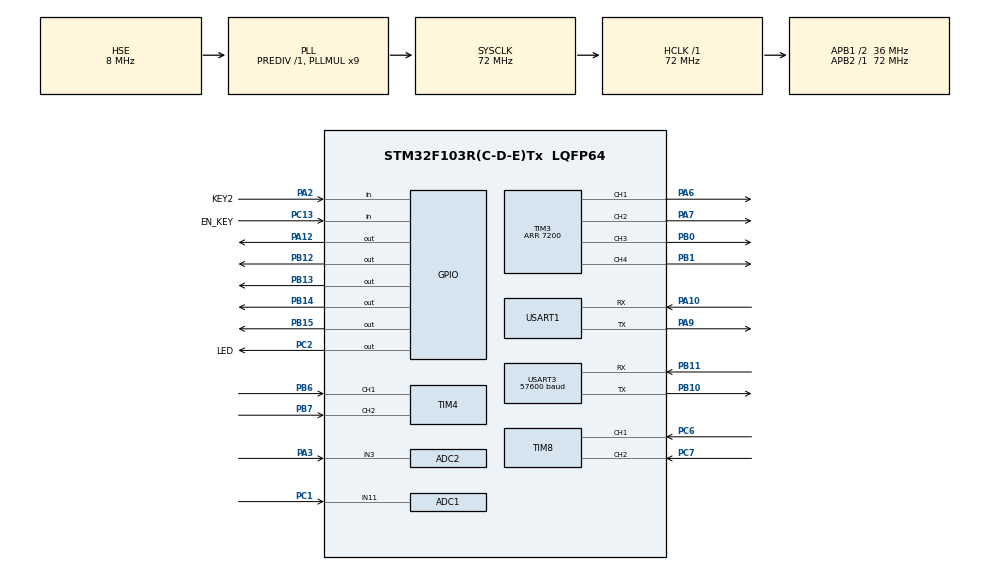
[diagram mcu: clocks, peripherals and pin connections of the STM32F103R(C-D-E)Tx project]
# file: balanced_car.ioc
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ADC1.Channel-0\#ChannelRegularConversion=ADC_CHANNEL_11
ADC1.ContinuousConvMode=ENABLE
ADC1.NbrOfConversionFlag=1
ADC1.Rank-0\#ChannelRegularConversion=1
ADC1.SamplingTime-0\#ChannelRegularConversion=ADC_SAMPLETIME_1CYCLE_5
ADC1.master=1
ADC2.Channel-0\#ChannelRegularConversion=ADC_CHANNEL_3
ADC2.NbrOfConversionFlag=1
ADC2.Rank-0\#ChannelRegularConversion=1
ADC2.SamplingTime-0\#ChannelRegularConversion=ADC_SAMPLETIME_1CYCLE_5
Dma.Request0=USART3_RX
Dma.Request1=USART3_TX
Dma.Request2=USART1_RX
Dma.Request3=USART1_TX
Dma.USART1_RX.2.Direction=DMA_PERIPH_TO_MEMORY
Dma.USART1_RX.2.Instance=DMA1_Channel5
Dma.USART1_RX.2.MemDataAlignment=DMA_MDATAALIGN_BYTE
Dma.USART1_RX.2.MemInc=DMA_MINC_ENABLE
Dma.USART1_RX.2.Mode=DMA_NORMAL
Dma.USART1_RX.2.PeriphDataAlignment=DMA_PDATAALIGN_BYTE
Dma.USART1_RX.2.PeriphInc=DMA_PINC_DISABLE
Dma.USART1_RX.2.Priority=DMA_PRIORITY_LOW
Dma.USART1_TX.3.Direction=DMA_MEMORY_TO_PERIPH
Dma.USART1_TX.3.Instance=DMA1_Channel4
Dma.USART1_TX.3.MemDataAlignment=DMA_MDATAALIGN_BYTE
Dma.USART1_TX.3.MemInc=DMA_MINC_ENABLE
Dma.USART1_TX.3.Mode=DMA_NORMAL
Dma.USART1_TX.3.PeriphDataAlignment=DMA_PDATAALIGN_BYTE
Dma.USART1_TX.3.PeriphInc=DMA_PINC_DISABLE
Dma.USART1_TX.3.Priority=DMA_PRIORITY_LOW
Dma.USART3_RX.0.Direction=DMA_PERIPH_TO_MEMORY
Dma.USART3_RX.0.Instance=DMA1_Channel3
Dma.USART3_RX.0.MemDataAlignment=DMA_MDATAALIGN_BYTE
Dma.USART3_RX.0.MemInc=DMA_MINC_ENABLE
Dma.USART3_RX.0.Mode=DMA_NORMAL
Dma.USART3_RX.0.PeriphDataAlignment=DMA_PDATAALIGN_BYTE
Dma.USART3_RX.0.PeriphInc=DMA_PINC_DISABLE
Dma.USART3_RX.0.Priority=DMA_PRIORITY_LOW
Dma.USART3_TX.1.Direction=DMA_MEMORY_TO_PERIPH
Dma.USART3_TX.1.Instance=DMA1_Channel2
Dma.USART3_TX.1.MemDataAlignment=DMA_MDATAALIGN_BYTE
Dma.USART3_TX.1.MemInc=DMA_MINC_ENABLE
Dma.USART3_TX.1.Mode=DMA_NORMAL
Dma.USART3_TX.1.PeriphDataAlignment=DMA_PDATAALIGN_BYTE
Dma.USART3_TX.1.PeriphInc=DMA_PINC_DISABLE
Dma.USART3_TX.1.Priority=DMA_PRIORITY_LOW
Mcu.Family=STM32F1
Mcu.Name=STM32F103R(C-D-E)Tx
Mcu.Package=LQFP64
NVIC.DMA1_Channel2_IRQn=true\:0\:0\:false\:false\:true\:false\:true\:true
NVIC.DMA1_Channel3_IRQn=true\:0\:0\:false\:false\:true\:false\:true\:true
NVIC.DMA1_Channel4_IRQn=true\:0\:0\:false\:false\:true\:false\:true\:true
NVIC.DMA1_Channel5_IRQn=true\:0\:0\:false\:false\:true\:false\:true\:true
NVIC.PriorityGroup=NVIC_PRIORITYGROUP_4
NVIC.TIM6_IRQn=true\:1\:0\:true\:false\:true\:true\:true\:true
NVIC.TIM7_IRQn=true\:2\:0\:true\:false\:true\:true\:true\:true
NVIC.USART1_IRQn=true\:5\:0\:true\:false\:true\:true\:true\:true
NVIC.USART3_IRQn=true\:0\:0\:false\:false\:true\:true\:true\:true
PA10.Mode=Asynchronous
PA10.Signal=USART1_RX
PA12.Signal=GPIO_Output
PA13.Mode=Serial_Wire
PA13.Signal=SYS_JTMS-SWDIO
PA14.Mode=Serial_Wire
PA14.Signal=SYS_JTCK-SWCLK
PA2.GPIO_Label=KEY2
PA2.GPIO_PuPd=GPIO_PULLUP
PA2.Signal=GPIO_Input
PA3.Signal=ADCx_IN3
PA6.Signal=S_TIM3_CH1
PA7.Signal=S_TIM3_CH2
PA9.Mode=Asynchronous
PA9.Signal=USART1_TX
PB0.Signal=S_TIM3_CH3
PB1.Signal=S_TIM3_CH4
PB10.Mode=Asynchronous
PB10.Signal=USART3_TX
PB11.Mode=Asynchronous
PB11.Signal=USART3_RX
PB12.Signal=GPIO_Output
PB13.Signal=GPIO_Output
PB14.Signal=GPIO_Output
PB15.Signal=GPIO_Output
PB6.Signal=S_TIM4_CH1
PB7.Signal=S_TIM4_CH2
PC1.Signal=ADCx_IN11
PC13-TAMPER-RTC.GPIO_Label=EN_KEY
PC13-TAMPER-RTC.GPIO_PuPd=GPIO_NOPULL
PC13-TAMPER-RTC.Signal=GPIO_Input
PC2.GPIO_Label=LED
PC2.PinState=GPIO_PIN_SET
PC2.Signal=GPIO_Output
PC6.Signal=S_TIM8_CH1
PC7.Signal=S_TIM8_CH2
PD0-OSC_IN.Mode=HSE-External-Oscillator
PD0-OSC_IN.Signal=RCC_OSC_IN
PD1-OSC_OUT.Mode=HSE-External-Oscillator
PD1-OSC_OUT.Signal=RCC_OSC_OUT
ProjectManager.HeapSize=0x200
ProjectManager.StackSize=0x400
ProjectManager.TargetToolchain=CMake
RCC.ADCPresc=RCC_ADCPCLK2_DIV6
RCC.AHBFreq_Value=72000000
RCC.APB1CLKDivider=RCC_HCLK_DIV2
RCC.APB1Freq_Value=36000000
RCC.APB1TimFreq_Value=72000000
RCC.APB2Freq_Value=72000000
RCC.APB2TimFreq_Value=72000000
RCC.HCLKFreq_Value=72000000
RCC.PLLMUL=RCC_PLL_MUL9
RCC.PLLSourceVirtual=RCC_PLLSOURCE_HSE
RCC.SYSCLKFreq_VALUE=72000000
RCC.SYSCLKSource=RCC_SYSCLKSOURCE_PLLCLK
RCC.USBFreq_Value=72000000
SH.ADCx_IN11.0=ADC1_IN11,IN11
SH.ADCx_IN11.1=ADC2_IN11
SH.ADCx_IN3.0=ADC2_IN3,IN3
SH.S_TIM3_CH1.0=TIM3_CH1,PWM Generation1 CH1
SH.S_TIM3_CH2.0=TIM3_CH2,PWM Generation2 CH2
SH.S_TIM3_CH3.0=TIM3_CH3,PWM Generation3 CH3
SH.S_TIM3_CH4.0=TIM3_CH4,PWM Generation4 CH4
SH.S_TIM4_CH1.0=TIM4_CH1,Encoder_Interface
SH.S_TIM4_CH2.0=TIM4_CH2,Encoder_Interface
SH.S_TIM8_CH1.0=TIM8_CH1,Encoder_Interface
SH.S_TIM8_CH2.0=TIM8_CH2,Encoder_Interface
TIM3.Channel-PWM\ Generation1\ CH1=TIM_CHANNEL_1
TIM3.Channel-PWM\ Generation2\ CH2=TIM_CHANNEL_2
TIM3.Channel-PWM\ Generation3\ CH3=TIM_CHANNEL_3
TIM3.Channel-PWM\ Generation4\ CH4=TIM_CHANNEL_4
TIM3.Period=7200
TIM4.AutoReloadPreload=TIM_AUTORELOAD_PRELOAD_ENABLE
TIM4.EncoderMode=TIM_ENCODERMODE_TI12
TIM4.IC1Filter=15
TIM4.IC2Filter=15
TIM6.Period=1000
TIM6.Prescaler=720-1
TIM7.Period=72
TIM8.EncoderMode=TIM_ENCODERMODE_TI12
TIM8.IC1Filter=15
TIM8.IC2Filter=15
USART1.VirtualMode=VM_ASYNC
USART3.BaudRate=57600
USART3.VirtualMode=VM_ASYNC
VP_TIM3_VS_ClockSourceINT.Mode=Internal
VP_TIM6_VS_ClockSourceINT.Mode=Enable_Timer
VP_TIM7_VS_ClockSourceINT.Mode=Enable_Timer
board=custom

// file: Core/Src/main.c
/* USER CODE BEGIN Header */
/**
  ******************************************************************************
  * @file           : main.c
  * @brief          : Main program body
  ******************************************************************************
  * @attention
  *
  * Copyright (c) 2025 STMicroelectronics.
  * All rights reserved.
  *
  * This software is licensed under terms that can be found in the LICENSE file
  * in the root directory of this software component.
  * If no LICENSE file comes with this software, it is provided AS-IS.
  *
  ******************************************************************************
  */
/* USER CODE END Header */
#include "main.h"
#include "adc.h"
#include "dma.h"
#include "tim.h"
#include "usart.h"
#include "gpio.h"

/* USER CODE BEGIN Includes */
#include <stdbool.h>

#include "pid.h"
#include "balance_control.h"
#include "mpu6050.h"
#include "callback.h"
#include "encoder.h"
#include "vbat.h"
#include "Grayscale_Sensor.h"
#include "../Inc/wireless.h"
#include "../Inc/motor_control.h"
#include "delay.h"
#include "State_Control.h"
#include "uart_command.h"
#include "uart_com_cycle.h"
/* USER CODE END Includes */

/* USER CODE BEGIN PV */

/********************灰度传感器配置********************/
No_MCU_Sensor sensor;
char Gray_rx_buff[256] = "";
unsigned short Anolog[8] = {0};
unsigned short white[8] = {1559, 1696, 2608, 2262, 2035, 2361, 2645, 1694};
unsigned short black[8] = {183, 235, 214, 187, 145, 219, 359, 117};
unsigned short Normal[8];
unsigned char Digtal;
/********************extern数组********************/
extern DMA_HandleTypeDef hdma_usart1_rx;
extern PID pid_l_speed, pid_l_position, pid_r_speed, pid_r_position; //PID结构体
extern uint8_t DAP_Com_Buff[128]; //串口接收数据缓存
/* USER CODE END PV */

void SystemClock_Config(void);

int main(void)
{

  /* MCU Configuration--------------------------------------------------------*/

  /* Reset of all peripherals, Initializes the Flash interface and the Systick. */
  HAL_Init();

  /* Configure the system clock */
  SystemClock_Config();

  /* Initialize all configured peripherals */
  MX_GPIO_Init();
  MX_DMA_Init();
  MX_TIM3_Init();
  MX_TIM4_Init();
  MX_TIM8_Init();
  MX_USART1_UART_Init();
  MX_TIM6_Init();
  MX_ADC1_Init();
  MX_USART3_UART_Init();
  MX_ADC2_Init();
  MX_TIM7_Init();
  /* USER CODE BEGIN 2 */
    DWT_InitMicros(); //初始化DWT计数器，程序正式计数
    Vbat_Init(); //初始化电池电压采集

    /************串口接收初始化************/
    HAL_UARTEx_ReceiveToIdle_DMA(&huart3, DAP_Com_Buff, 128);
    __HAL_DMA_DISABLE_IT(&hdma_usart3_rx, DMA_IT_HT);

    /**********************灰度传感器初始化**********************/

    sprintf((char *) Gray_rx_buff, "hello_world!\r\n");
    HAL_UART_Transmit(&huart1, Gray_rx_buff, strlen((char *) Gray_rx_buff),HAL_MAX_DELAY);

    //初始化传感器，不带黑白
    No_MCU_Ganv_Sensor_Init_Frist(&sensor); //结构体归零
    No_Mcu_Ganv_Sensor_Task_Without_tick(&sensor); //无校准读取数据
    Get_Anolog_Value(&sensor, Anolog);
    sprintf(Gray_rx_buff, "Anolog %d,%d,%d,%d,%d,%d,%d,%d\r\n", Anolog[0], Anolog[1], Anolog[2], Anolog[3], Anolog[4],
            Anolog[5], Anolog[6], Anolog[7]);
    HAL_UART_Transmit_DMA(&huart1, Gray_rx_buff, strlen(Gray_rx_buff));
    HAL_Delay(100);

    //得到黑白校准值之后，初始化传感器
    No_MCU_Ganv_Sensor_Init(&sensor, white, black);
    HAL_Delay(100);
    /*******************电机控制初始化*******************/
    //MPU6050_Init(); //初始化MPU6050
    Motor_Init(); //电机速度环初始化
    //Control_Init();//电机平衡初始化

    PID_Set_General(&pid_l_speed, 0.4f, 10.0f, 0.0f); //速度环设定值
    PID_Set_General(&pid_r_speed, 0.4f, 10.0f, 0.0f);
    HAL_Delay(500);

    HAL_TIM_Base_Start_IT(&GAP_TIM); //10ms定时器开启

  /* USER CODE END 2 */

  /* Infinite loop */
  /* USER CODE BEGIN WHILE */
    while (1)
    {
        // DAP_Com_Length = Command_GetCommand(DAP_Com);//DAP_Com_Length事实上是包含包头和校验和的字节数
        // if (DAP_Com_Length != 0) //如果有命令
        // {
        //     Decode_Command(DAP_Com_Length-3);
        //     HAL_UART_Transmit(&huart3, DAP_Com_Decode, strlen(DAP_Com_Decode), HAL_MAX_DELAY); //回显解码之后的命令
        //     USART_Parse_Command(DAP_Com_Decode, 1); //解析命令
        // }

        // //无时基传感器常规任务，包含模拟量，数字量，归一化量
        // No_Mcu_Ganv_Sensor_Task_Without_tick(&sensor);
        // //有时基传感器常规任务，包含模拟量，数字量，归一化量
        // //			No_Mcu_Ganv_Sensor_Task_With_tick(&sensor)
        // //获取传感器数字量结果(只有当有黑白值传入进去了之后才会有这个)
        // Digtal=Get_Digtal_For_User(&sensor);
        // sprintf(Gray_rx_buff,"Digtal %d-%d-%d-%d-%d-%d-%d-%d\r\n",(Digtal>>0)&0x01,(Digtal>>1)&0x01,(Digtal>>2)&0x01,(Digtal>>3)&0x01,(Digtal>>4)&0x01,(Digtal>>5)&0x01,(Digtal>>6)&0x01,(Digtal>>7)&0x01);
        // HAL_UART_Transmit(&huart1, Gray_rx_buff, strlen(Gray_rx_buff), HAL_MAX_DELAY);
        //
        // //获取传感器模拟量结果(有黑白初始化后返回1 没有返回 0)
        // // if(Get_Anolog_Value(&sensor,Anolog)){
        // //   sprintf(Gray_rx_buff,"Anolog %d-%d-%d-%d-%d-%d-%d-%d\r\n",Anolog[0],Anolog[1],Anolog[2],Anolog[3],Anolog[4],Anolog[5],Anolog[6],Anolog[7]);
        // //   HAL_UART_Transmit(&huart1, Gray_rx_buff, strlen(Gray_rx_buff), HAL_MAX_DELAY);
        // // }
        //
        // //获取传感器归一化结果(只有当有黑白值传入进去了之后才会有这个结果！！有黑白值初始化后返1 没有返回 0)
        // if(Get_Normalize_For_User(&sensor,Normal)){
        //   sprintf(Gray_rx_buff,"Normalize %d-%d-%d-%d-%d-%d-%d-%d\r\n",Normal[0],Normal[1],Normal[2],Normal[3],Normal[4],Normal[5],Normal[6],Normal[7]);
        //   HAL_UART_Transmit(&huart1, Gray_rx_buff, strlen(Gray_rx_buff), HAL_MAX_DELAY);
        // }
        //
        // HAL_Delay(1000);//最短延时时间
    /* USER CODE END WHILE */

    }
}

void SystemClock_Config(void)
{
  RCC_OscInitTypeDef RCC_OscInitStruct = {0};
  RCC_ClkInitTypeDef RCC_ClkInitStruct = {0};
  RCC_PeriphCLKInitTypeDef PeriphClkInit = {0};

  /** Initializes the RCC Oscillators according to the specified parameters
  * in the RCC_OscInitTypeDef structure.
  */
  RCC_OscInitStruct.OscillatorType = RCC_OSCILLATORTYPE_HSE;
  RCC_OscInitStruct.HSEState = RCC_HSE_ON;
  RCC_OscInitStruct.HSEPredivValue = RCC_HSE_PREDIV_DIV1;
  RCC_OscInitStruct.HSIState = RCC_HSI_ON;
  RCC_OscInitStruct.PLL.PLLState = RCC_PLL_ON;
  RCC_OscInitStruct.PLL.PLLSource = RCC_PLLSOURCE_HSE;
  RCC_OscInitStruct.PLL.PLLMUL = RCC_PLL_MUL9;
  if (HAL_RCC_OscConfig(&RCC_OscInitStruct) != HAL_OK)
  {
    Error_Handler();
  }

  /** Initializes the CPU, AHB and APB buses clocks
  */
  RCC_ClkInitStruct.ClockType = RCC_CLOCKTYPE_HCLK|RCC_CLOCKTYPE_SYSCLK
                              |RCC_CLOCKTYPE_PCLK1|RCC_CLOCKTYPE_PCLK2;
  RCC_ClkInitStruct.SYSCLKSource = RCC_SYSCLKSOURCE_PLLCLK;
  RCC_ClkInitStruct.AHBCLKDivider = RCC_SYSCLK_DIV1;
  RCC_ClkInitStruct.APB1CLKDivider = RCC_HCLK_DIV2;
  RCC_ClkInitStruct.APB2CLKDivider = RCC_HCLK_DIV1;

  if (HAL_RCC_ClockConfig(&RCC_ClkInitStruct, FLASH_LATENCY_2) != HAL_OK)
  {
    Error_Handler();
  }
  PeriphClkInit.PeriphClockSelection = RCC_PERIPHCLK_ADC;
  PeriphClkInit.AdcClockSelection = RCC_ADCPCLK2_DIV6;
  if (HAL_RCCEx_PeriphCLKConfig(&PeriphClkInit) != HAL_OK)
  {
    Error_Handler();
  }
}

void Error_Handler(void)
{
    __disable_irq();
    while (1)
    {
    }
}
